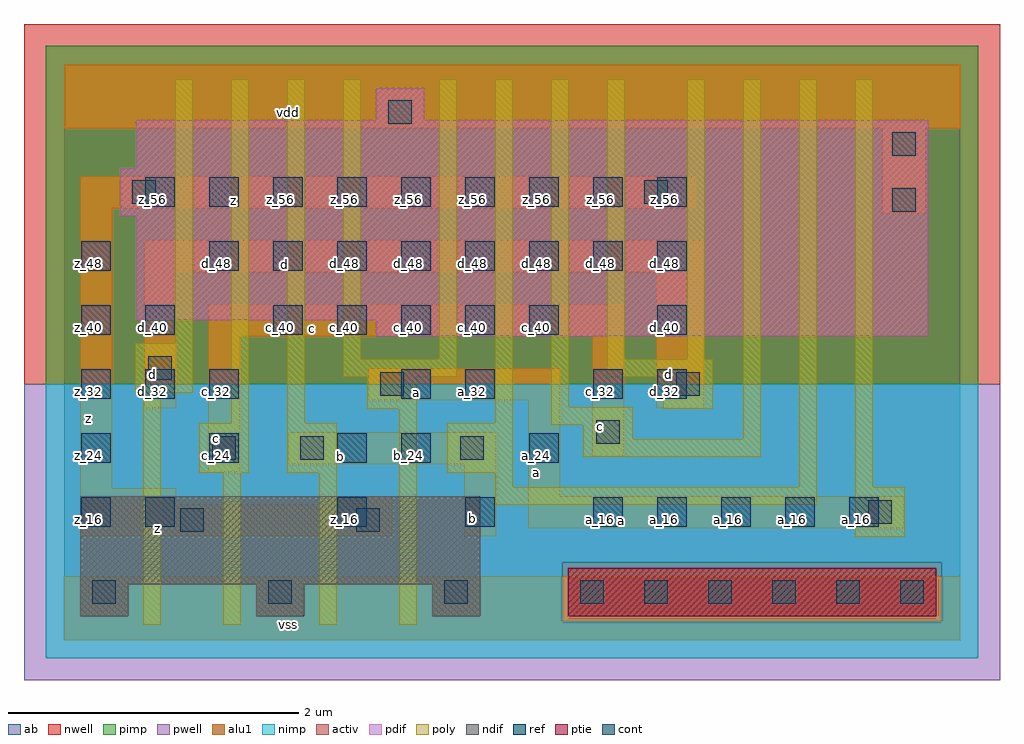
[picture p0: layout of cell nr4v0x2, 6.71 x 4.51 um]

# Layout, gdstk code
import gdstk
lib = gdstk.Library(unit=1e-6, precision=2.5e-09)
def R(c, l, rs):  # rectangles x0, y0, x1, y1
    for r in rs: c.add(gdstk.rectangle(r[:2], r[2:], *l))
def A(c, l, x, y, w, h, nx, ny, dx, dy):  # array of equal rectangles
    R(c, l, [(x+i*dx, y+j*dy, x+i*dx+w, y+j*dy+h) for i in range(nx) for j in range(ny)])
ndif = (3, 0)
pdif = (4, 0)
ptie = (6, 0)
ref = (24, 0)
cont = (25, 0)
pwell = (41, 0)
nwell = (42, 0)
activ = (43, 0)
pimp = (44, 0)
nimp = (45, 0)
poly = (46, 0)
alu1 = (49, 0)
ab = (63, 0)

nr4v0x2 = lib.new_cell('nr4v0x2')
A(nr4v0x2, ndif, 0.11, 0.165, 0.33, 0.22, 3, 1, 1.21, 0)
R(nr4v0x2, ndif, [(0.11,0.385,2.86,0.99)])
R(nr4v0x2, pdif, [(2.145,2.09,5.94,2.2), (0.495,2.2,5.94,2.915), (0.385,2.915,5.94,3.245), (0.495,3.245,5.94,3.575), (2.145,3.575,2.475,3.795)])
R(nr4v0x2, ptie, [(3.465,0.165,5.995,0.495)])
A(nr4v0x2, ref, 1.88, 0.78, 0.2, 0.2, 3, 1, 0.88, 0)
A(nr4v0x2, ref, 4.08, 0.78, 0.2, 0.2, 4, 1, 0.44, 0)
A(nr4v0x2, ref, 0.12, 1.22, 0.2, 0.2, 3, 1, 0.88, 0)
A(nr4v0x2, ref, 0.12, 1.66, 0.2, 0.2, 3, 1, 0.44, 0)
A(nr4v0x2, ref, 1.44, 2.1, 0.2, 0.2, 5, 1, 0.44, 0)
A(nr4v0x2, ref, 1, 2.54, 0.2, 0.2, 8, 1, 0.44, 0)
A(nr4v0x2, ref, 0.56, 2.98, 0.2, 0.2, 9, 1, 0.44, 0)
R(nr4v0x2, ref, [(0.12,0.78,0.32,0.98), (0.56,0.78,0.76,0.98), (2.32,1.22,2.52,1.42), (3.2,1.22,3.4,1.42), (2.32,1.66,2.52,1.86), (2.76,1.66,2.96,1.86), (3.64,1.66,3.84,1.86), (4.08,1.66,4.28,1.86), (0.12,2.1,0.32,2.3), (0.56,2.1,0.76,2.3), (4.08,2.1,4.28,2.3), (0.12,2.54,0.32,2.74)])
A(nr4v0x2, cont, 0.195, 0.25, 0.16, 0.16, 3, 1, 1.21, 0)
A(nr4v0x2, cont, 3.55, 0.25, 0.16, 0.16, 6, 1, 0.44, 0)
R(nr4v0x2, cont, [(0.8,0.745,0.96,0.905), (2.01,0.745,2.17,0.905), (5.53,0.8,5.69,0.96), (1.02,1.24,1.18,1.4), (1.625,1.24,1.785,1.4), (2.725,1.24,2.885,1.4), (3.66,1.35,3.82,1.51), (2.175,1.68,2.335,1.84), (4.21,1.68,4.37,1.84), (0.58,1.79,0.74,1.95), (5.695,2.945,5.855,3.105), (0.47,3,0.63,3.16), (3.99,3,4.15,3.16), (5.695,3.33,5.855,3.49), (2.23,3.55,2.39,3.71)])
R(nr4v0x2, pwell, [(-0.275,-0.275,6.435,1.76)])
R(nr4v0x2, nwell, [(-0.275,1.76,6.435,4.235)])
A(nr4v0x2, activ, 0.11, 0.165, 0.33, 0.22, 3, 1, 1.21, 0)
R(nr4v0x2, activ, [(3.465,0.165,5.995,0.495), (0.11,0.385,2.86,0.99), (2.145,2.09,5.94,2.2), (0.495,2.2,5.94,2.915), (0.385,2.915,5.94,3.245), (0.495,3.245,5.94,3.575), (2.145,3.575,2.475,3.795)])
R(nr4v0x2, pimp, [(3.425,0.125,6.035,0.535), (-0.125,1.76,6.285,4.085)])
R(nr4v0x2, nimp, [(-0.125,-0.125,6.285,0.125), (-0.125,0.125,3.425,0.535), (6.035,0.125,6.285,0.535), (-0.125,0.535,6.285,1.76)])
R(nr4v0x2, poly, [(0.545,0.105,0.665,1.7), (1.095,0.105,1.215,1.15), (1.755,0.105,1.875,1.15), (2.305,0.105,2.425,1.59), (5.44,0.71,5.78,1.05), (2.965,0.93,5.175,1.05), (2.965,1.05,3.085,1.15), (5.055,1.05,5.175,3.855), (5.44,1.05,5.56,3.855), (0.93,1.15,1.27,1.49), (1.535,1.15,1.875,1.49), (2.635,1.15,3.085,1.49), (3.57,1.26,4.79,1.38), (3.57,1.38,3.91,1.48), (4.67,1.38,4.79,3.855), (3.35,1.48,3.91,1.6), (1.15,1.49,1.27,3.855), (1.535,1.49,1.655,3.855), (2.965,1.49,3.085,3.855), (2.085,1.59,2.425,1.81), (4.12,1.59,4.46,1.81), (3.35,1.6,3.47,3.855), (0.49,1.7,0.885,2.04), (1.92,1.81,2.7,1.93), (3.735,1.81,4.46,1.93), (1.92,1.93,2.04,3.855), (2.58,1.93,2.7,3.855), (3.735,1.93,3.855,3.855), (4.285,1.93,4.405,3.855), (0.765,2.04,0.885,3.855)])
R(nr4v0x2, alu1, [(0,0,6.16,0.44), (0.11,0.715,2.255,0.935), (2.75,0.715,2.97,1.21), (3.19,0.77,5.775,0.99), (0.11,0.935,0.77,1.045), (1.815,0.935,2.255,0.99), (3.19,0.99,3.41,1.65), (0.11,1.045,0.33,2.97), (0.99,1.155,1.21,2.09), (1.54,1.21,2.97,1.43), (3.63,1.265,3.85,2.09), (0.55,1.595,0.77,2.53), (4.07,1.595,4.4,2.53), (2.09,1.65,3.41,1.87), (0.99,2.09,3.85,2.31), (0.55,2.53,4.4,2.75), (5.625,2.93,5.925,3.52), (0.11,2.97,4.345,3.19), (0,3.52,6.16,3.96)])
R(nr4v0x2, ab, [(0,0,6.16,3.96)])
nr4v0x2.add(gdstk.Label('vss', (1.54,0.11), layer=49, texttype=0))
nr4v0x2.add(gdstk.Label('a', (3.835,0.825), layer=49, texttype=0))
nr4v0x2.add(gdstk.Label('d', (4.1525,1.8275), layer=49, texttype=0))
nr4v0x2.add(gdstk.Label('c', (3.685,1.47), layer=49, texttype=0))
nr4v0x2.add(gdstk.Label('a', (3.245,1.155), layer=49, texttype=0))
nr4v0x2.add(gdstk.Label('b', (2.805,0.8375), layer=49, texttype=0))
nr4v0x2.add(gdstk.Label('z', (0.645,0.77), layer=49, texttype=0))
nr4v0x2.add(gdstk.Label('b', (1.8975,1.265), layer=49, texttype=0))
nr4v0x2.add(gdstk.Label('a', (2.42,1.705), layer=49, texttype=0))
nr4v0x2.add(gdstk.Label('c', (1.045,1.3875), layer=49, texttype=0))
nr4v0x2.add(gdstk.Label('c', (1.705,2.145), layer=49, texttype=0))
nr4v0x2.add(gdstk.Label('d', (0.605,1.8275), layer=49, texttype=0))
nr4v0x2.add(gdstk.Label('d', (1.5125,2.585), layer=49, texttype=0))
nr4v0x2.add(gdstk.Label('z', (0.165,1.525), layer=49, texttype=0))
nr4v0x2.add(gdstk.Label('z', (1.1675,3.025), layer=49, texttype=0))
nr4v0x2.add(gdstk.Label('vdd', (1.54,3.63), layer=49, texttype=0))
nr4v0x2.add(gdstk.Label('a_16', (5.45,0.83), layer=24, texttype=0))
nr4v0x2.add(gdstk.Label('z_16', (0.61,0.83), layer=24, texttype=0))
nr4v0x2.add(gdstk.Label('d_32', (0.61,1.71), layer=24, texttype=0))
nr4v0x2.add(gdstk.Label('d_40', (0.61,2.15), layer=24, texttype=0))
nr4v0x2.add(gdstk.Label('z_56', (0.61,3.03), layer=24, texttype=0))
nr4v0x2.add(gdstk.Label('c_24', (1.05,1.27), layer=24, texttype=0))
nr4v0x2.add(gdstk.Label('c_32', (1.05,1.71), layer=24, texttype=0))
nr4v0x2.add(gdstk.Label('d_48', (1.05,2.59), layer=24, texttype=0))
nr4v0x2.add(gdstk.Label('z_56', (1.05,3.03), layer=24, texttype=0))
nr4v0x2.add(gdstk.Label('c_40', (1.49,2.15), layer=24, texttype=0))
nr4v0x2.add(gdstk.Label('d_48', (1.49,2.59), layer=24, texttype=0))
nr4v0x2.add(gdstk.Label('z_56', (1.49,3.03), layer=24, texttype=0))
nr4v0x2.add(gdstk.Label('z_16', (1.93,0.83), layer=24, texttype=0))
nr4v0x2.add(gdstk.Label('b_24', (1.93,1.27), layer=24, texttype=0))
nr4v0x2.add(gdstk.Label('c_40', (1.93,2.15), layer=24, texttype=0))
nr4v0x2.add(gdstk.Label('d_48', (1.93,2.59), layer=24, texttype=0))
nr4v0x2.add(gdstk.Label('z_56', (1.93,3.03), layer=24, texttype=0))
nr4v0x2.add(gdstk.Label('z_16', (0.17,0.83), layer=24, texttype=0))
nr4v0x2.add(gdstk.Label('z_24', (0.17,1.27), layer=24, texttype=0))
nr4v0x2.add(gdstk.Label('z_32', (0.17,1.71), layer=24, texttype=0))
nr4v0x2.add(gdstk.Label('z_40', (0.17,2.15), layer=24, texttype=0))
nr4v0x2.add(gdstk.Label('z_48', (0.17,2.59), layer=24, texttype=0))
nr4v0x2.add(gdstk.Label('b_24', (2.37,1.27), layer=24, texttype=0))
nr4v0x2.add(gdstk.Label('a_32', (2.37,1.71), layer=24, texttype=0))
nr4v0x2.add(gdstk.Label('c_40', (2.37,2.15), layer=24, texttype=0))
nr4v0x2.add(gdstk.Label('d_48', (2.37,2.59), layer=24, texttype=0))
nr4v0x2.add(gdstk.Label('z_56', (2.37,3.03), layer=24, texttype=0))
nr4v0x2.add(gdstk.Label('b_16', (2.81,0.83), layer=24, texttype=0))
nr4v0x2.add(gdstk.Label('a_32', (2.81,1.71), layer=24, texttype=0))
nr4v0x2.add(gdstk.Label('c_40', (2.81,2.15), layer=24, texttype=0))
nr4v0x2.add(gdstk.Label('d_48', (2.81,2.59), layer=24, texttype=0))
nr4v0x2.add(gdstk.Label('z_56', (2.81,3.03), layer=24, texttype=0))
nr4v0x2.add(gdstk.Label('a_24', (3.25,1.27), layer=24, texttype=0))
nr4v0x2.add(gdstk.Label('c_40', (3.25,2.15), layer=24, texttype=0))
nr4v0x2.add(gdstk.Label('d_48', (3.25,2.59), layer=24, texttype=0))
nr4v0x2.add(gdstk.Label('z_56', (3.25,3.03), layer=24, texttype=0))
nr4v0x2.add(gdstk.Label('a_16', (3.69,0.83), layer=24, texttype=0))
nr4v0x2.add(gdstk.Label('c_32', (3.69,1.71), layer=24, texttype=0))
nr4v0x2.add(gdstk.Label('d_48', (3.69,2.59), layer=24, texttype=0))
nr4v0x2.add(gdstk.Label('z_56', (3.69,3.03), layer=24, texttype=0))
nr4v0x2.add(gdstk.Label('a_16', (4.13,0.83), layer=24, texttype=0))
nr4v0x2.add(gdstk.Label('d_32', (4.13,1.71), layer=24, texttype=0))
nr4v0x2.add(gdstk.Label('d_40', (4.13,2.15), layer=24, texttype=0))
nr4v0x2.add(gdstk.Label('d_48', (4.13,2.59), layer=24, texttype=0))
nr4v0x2.add(gdstk.Label('z_56', (4.13,3.03), layer=24, texttype=0))
nr4v0x2.add(gdstk.Label('a_16', (4.57,0.83), layer=24, texttype=0))
nr4v0x2.add(gdstk.Label('a_16', (5.01,0.83), layer=24, texttype=0))

lib.write_gds('nr4v0x2.gds')
